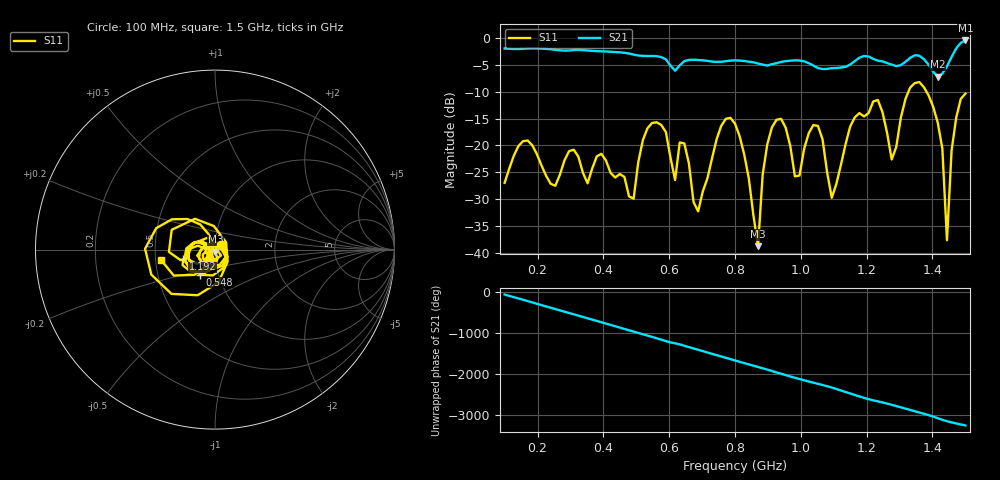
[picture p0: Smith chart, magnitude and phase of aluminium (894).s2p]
! NanoVNA-App
! Date: 2025-09-25 15:02:14
! Start: 100MHz Stop: 1,5GHz Points: 101
! S-Parameter data: F S11 S21 S12 S22
# Hz S RI R 50
!  Frequency  S11_Real  S11_Imag  S21_Real  S21_Imag  S12_Real  S12_Imag  S22_Real  S22_Imag
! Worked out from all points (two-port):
!   101 points, 100 MHz to 1.5 GHz, reference 50 ohm
!   highest |S21| = -0.43 dB at 1.5 GHz (marker M1); lowest = -7.2 dB at 1.416 GHz (marker M2)
!   |S21| within 3 dB of the highest: start of sweep to 567.8 MHz; 1.459 GHz to end of sweep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
!   lowest |S11| = -38.8 dB at 870 MHz (marker M3), VSWR 1.02, Z = 50.3 - j1.13 ohm
!   |S11| at or under -10 dB: start of sweep to 1.327 GHz; 1.382 GHz to end of sweep
!   S12 and S22 are empty: the file has one direction only
!   S11 on the Smith chart (normalised r, x): 100 MHz: 1.07, +0.06; 548 MHz: 0.82, -0.23; 1.192 GHz: 0.69, -0.08; 1.5 GHz: 0.54, -0.07
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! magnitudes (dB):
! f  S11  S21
! 100 MHz  -27.0  -1.9
! 170 MHz  -19.1  -1.9
! 338 MHz  -25.1  -2.2
! 492 MHz  -29.9  -3.1
! 548 MHz  -15.8  -3.3
! 576 MHz  -16.2  -3.5
! 646 MHz  -19.6  -4.3
! 688 MHz  -32.3  -4.1
! 800 MHz  -15.9  -4.1
! 870 MHz  -38.8  -4.7
! 912 MHz  -16.7  -4.9
! 982 MHz  -25.8  -4.1
! 1.038 GHz  -16.2  -5.1
! 1.094 GHz  -29.8  -5.6
! 1.192 GHz  -14.6  -3.3
! 1.234 GHz  -11.5  -4.2
! 1.276 GHz  -22.6  -4.9
! 1.346 GHz  -8.4  -3.2
! 1.416 GHz  -15.7  -7.2
! 1.444 GHz  -37.7  -5.3
! 1.458 GHz  -21.0  -3.5
! 1.5 GHz  -10.3  -0.4
